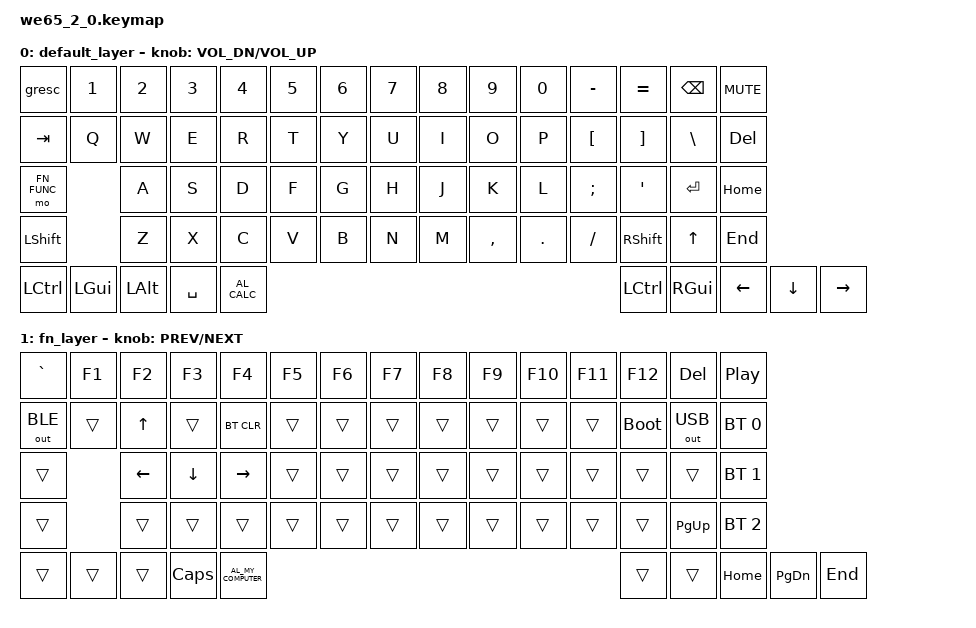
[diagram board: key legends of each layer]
#include <behaviors.dtsi>
#include <dt-bindings/zmk/keys.h>
#include <dt-bindings/zmk/outputs.h>
#include <dt-bindings/zmk/bt.h>

#define DEFAULT	0
#define FN_FUNC	1

/ {
	keymap {
		compatible = "zmk,keymap";
		default_layer {
			bindings = <
	&gresc    &kp N1    &kp N2    &kp N3    &kp N4    &kp N5    &kp N6    &kp N7    &kp N8    &kp N9    &kp N0    &kp MINUS &kp EQUAL &kp BSPC  &kp C_MUTE
	&kp TAB   &kp Q     &kp W     &kp E     &kp R     &kp T     &kp Y     &kp U     &kp I     &kp O     &kp P     &kp LBKT  &kp RBKT  &kp BSLH  &kp DEL   
	&mo FN_FUNC         &kp A     &kp S     &kp D     &kp F     &kp G     &kp H     &kp J     &kp K     &kp L     &kp SEMI  &kp APOS  &kp ENTER &kp HOME  
	&kp LSHFT           &kp Z     &kp X     &kp C     &kp V     &kp B     &kp N     &kp M     &kp COMMA &kp DOT   &kp FSLH  &kp RSHFT &kp UP    &kp END   
	&kp LCTRL           &kp LGUI            &kp LALT            &kp SPACE           &kp C_AL_CALC       &kp LCTRL            &kp RGUI            &kp LEFT   &kp DOWN &kp RIGHT
			>;
			sensor-bindings = <&inc_dec_kp C_VOL_DN C_VOL_UP>;
		};
		fn_layer {
			bindings = <
	&kp GRAVE &kp F1    &kp F2    &kp F3    &kp F4    &kp F5    &kp F6    &kp F7    &kp F8    &kp F9    &kp F10   &kp F11   &kp F12   &kp DEL   &kp C_PP
	&out OUT_BLE    &trans    &kp UP    &trans    &bt BT_CLR    &trans    &trans    &trans    &trans    &trans    &trans    &trans    &bootloader    &out OUT_USB    &bt BT_SEL 0 
	&trans              &kp LEFT    &kp DOWN    &kp RIGHT    &trans    &trans    &trans    &trans    &trans    &trans    &trans    &trans    &trans    &bt BT_SEL 1 
	&trans              &trans    &trans    &trans    &trans    &trans    &trans    &trans    &trans    &trans    &trans    &trans    &kp PG_UP    &bt BT_SEL 2  
	&trans              &trans              &trans              &kp CAPS            &kp C_AL_MY_COMPUTER              &trans              &trans              &kp HOME   &kp PG_DN   &kp END
			>;
			sensor-bindings = <&inc_dec_kp C_PREV C_NEXT>;
		};
	};
};
